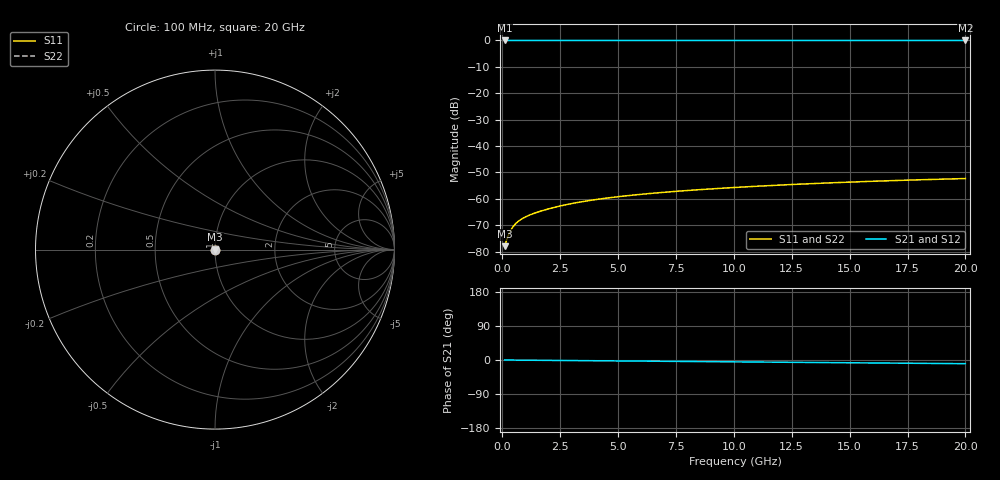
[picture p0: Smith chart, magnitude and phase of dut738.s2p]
! Touchstone file exported from HFSS 2026.1.0
!  File:  C:/ffzhzh/LocalFiles/Ansys_Project_Files/temp_train_TSV_738_1783182714_18472.aedt
!  Generated:  12:33:21 AM Jul  5, 2026
!  Design:  TSV
!  Project:  temp_train_TSV_738_1783182714_18472
! Variables:
!  h_bsmrdl = 2um
!  h_ox = 20um
!  h_rdl = 5um
!  h_sub = 99.13um
!  h_tmrdl = 5um
!  h_tsv = 99.13um
!  h_via = 3um
!  l_bsmrdl = 300um
!  l_sub = 424.2um
!  l_tmrdl = 200um
!  m_sub = 200um
!  pitch = 49.48um
!  r_tsv = 12.1um
!  s_tmrdl = 10um
!  w_bsmrdl = 18um
!  w_sub = 500um
!  w_tmrdl = 12um
!  x_tsv_center1 = 206um
!  x_tsv_center2 = 524um
!  x_tsv_center3 = 736um
!  x_tsv_center4 = 1054um
!  x_tsv_center5 = 1266um
!  x_tsv_center6 = 1584um
# GHz S MA R 50.000000
! Terminal data exported
! Port[1] = TSV1_1_T1
! Port[2] = TSV1_1_T2
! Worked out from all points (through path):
!   200 points, 100 MHz to 20 GHz, reference 50 ohm
!   highest |S21| = 0.00 dB at 100 MHz (marker M1); lowest = 0.0 dB at 20 GHz (marker M2)
!   group delay of S21, straight-line fit = 1.35 ps
!   lowest |S11| = -77.9 dB at 100 MHz (marker M3), VSWR 1.00, Z = 50 + j0.006 ohm
!   |S11| at or under -10 dB: start of sweep to end of sweep
!   |S22| runs from -77.9 to -52.3 dB; largest |S21 - S12| = 2.1e-15
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0.1  0.0001272 28.2  0.9999 -0.1  0.9999 -0.1  0.0001272 28.2
! Gamma 0 0 0 0
! Port Impedance 50 0 50 0
0.2  0.0001727 41.9  0.9999 -0.1  0.9999 -0.1  0.0001727 41.9
0.3  0.0002227 46.9  0.9999 -0.2  0.9999 -0.2  0.0002227 46.9
0.4  0.0002695 48.5  0.9998 -0.2  0.9998 -0.2  0.0002696 48.5
0.5  0.000311 48.6  0.9998 -0.3  0.9998 -0.3  0.000311 48.6
0.6  0.0003472 48.3  0.9998 -0.3  0.9998 -0.3  0.0003472 48.4
0.7  0.0003789 48.0  0.9997 -0.4  0.9997 -0.4  0.0003789 48.0
0.9  0.0004323 47.4  0.9997 -0.5  0.9997 -0.5  0.0004324 47.4
1.1  0.0004776 47.3  0.9997 -0.5  0.9997 -0.5  0.0004776 47.3
1.3  0.0005183 47.5  0.9996 -0.6  0.9996 -0.6  0.0005184 47.5
1.6  0.0005753 48.0  0.9996 -0.8  0.9996 -0.8  0.0005753 48.0
1.9  0.0006296 48.6  0.9996 -0.9  0.9996 -0.9  0.0006297 48.6
2.7  0.0007668 49.8  0.9995 -1.3  0.9995 -1.3  0.0007668 49.8
3.5  0.0008928 50.2  0.9994 -1.7  0.9994 -1.7  0.0008927 50.2
4.2  0.0009937 50.3  0.9994 -2.1  0.9994 -2.1  0.0009936 50.3
5  0.0011 50.3  0.9993 -2.5  0.9993 -2.5  0.0011 50.3
6.8  0.001313 50.2  0.9992 -3.3  0.9992 -3.3  0.001313 50.2
8.3  0.001473 50.1  0.9991 -4.1  0.9991 -4.1  0.001472 50.1
10.1  0.001651 49.9  0.999 -4.9  0.999 -4.9  0.001651 49.9
13.4  0.001949 49.1  0.9989 -6.5  0.9989 -6.5  0.001948 49.1
16.7  0.002207 48.0  0.9988 -8.1  0.9988 -8.1  0.002207 48.0
20  0.002427 46.7  0.9986 -9.7  0.9986 -9.7  0.002426 46.7
